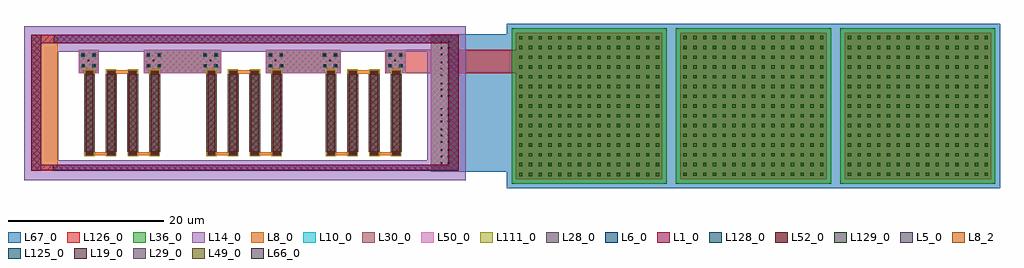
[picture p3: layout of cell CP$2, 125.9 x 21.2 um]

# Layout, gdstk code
from math import pi, radians
import gdstk
lib = gdstk.Library(unit=1e-6, precision=1e-09)
def R(c, l, rs):  # rectangles x0, y0, x1, y1
    for r in rs: c.add(gdstk.rectangle(r[:2], r[2:], *l))
def A(c, l, x, y, w, h, nx, ny, dx, dy):  # array of equal rectangles
    R(c, l, [(x+i*dx, y+j*dy, x+i*dx+w, y+j*dy+h) for i in range(nx) for j in range(ny)])
L1_0 = (1, 0)
L5_0 = (5, 0)
L6_0 = (6, 0)
L8_0 = (8, 0)
L8_2 = (8, 2)
L10_0 = (10, 0)
L14_0 = (14, 0)
L19_0 = (19, 0)
L28_0 = (28, 0)
L29_0 = (29, 0)
L30_0 = (30, 0)
L36_0 = (36, 0)
L49_0 = (49, 0)
L50_0 = (50, 0)
L52_0 = (52, 0)
L66_0 = (66, 0)
L67_0 = (67, 0)
L111_0 = (111, 0)
L125_0 = (125, 0)
L126_0 = (126, 0)
L128_0 = (128, 0)
L129_0 = (129, 0)

cmim = lib.new_cell('cmim')
R(cmim, L36_0, [(0,0,20,20)])
R(cmim, L67_0, [(-0.6,-0.6,20.6,20.6)])
R(cmim, L126_0, [(0.55,0.55,19.45,19.45)])
A(cmim, L129_0, 0.97, 0.97, 0.42, 0.42, 15, 15, 1.26, 1.26)

rppd = lib.new_cell('rppd')
R(rppd, L5_0, [(0,-0.43,1,-0.2), (0,-0.2,1,0), (0,10,1,10.2), (0,10.2,1,10.43)])
R(rppd, L6_0, [(0.07,-0.36,0.93,-0.2), (0.07,10.2,0.93,10.36)])
R(rppd, L8_0, [(0.02,-0.43,0.98,-0.13), (0.02,10.13,0.98,10.43)])
R(rppd, L8_2, [(0.02,-0.43,0.98,-0.13), (0.02,10.13,0.98,10.43)])
R(rppd, L14_0, [(-0.18,-0.61,1.18,0), (-0.18,0,1.18,10), (-0.18,10,1.18,10.61)])
R(rppd, L28_0, [(-0.2,0,1.2,10)])
R(rppd, L52_0, [(0,0,1,10)])
R(rppd, L111_0, [(-0.18,-0.61,1.18,0), (-0.2,0,1.2,10), (-0.18,10,1.18,10.61)])
R(rppd, L128_0, [(0,0,1,10)])
rppd.add(gdstk.Label('rppd r=2654.493', (0.5,5), layer=63, texttype=0))
rppd.add(gdstk.Label('rppd', (0.5,5), layer=52, texttype=0))

res_3 = lib.new_cell('RES$3')
R(res_3, L8_0, [(3.665,4.795,6.73,7.42), (16.915,5.565,17.315,9.323), (6.355,8.382,6.755,12.14), (16.915,11.17,17.315,14.928), (3.663,13.223,6.728,15.848)])
R(res_3, L10_0, [(3.665,4.795,6.73,7.42), (3.663,13.223,6.728,15.848)])
R(res_3, L19_0, [(5.647,5.292,5.837,5.482), (4.272,5.352,4.462,5.542), (4.957,6.074,5.147,6.264), (5.647,6.727,5.837,6.917), (4.272,6.757,4.462,6.947), (5.645,13.72,5.835,13.91), (4.27,13.78,4.46,13.97), (4.955,14.502,5.145,14.692), (5.645,15.155,5.835,15.345), (4.27,15.185,4.46,15.375)])
R(res_3, L29_0, [(5.647,5.292,5.837,5.482), (4.272,5.352,4.462,5.542), (4.957,6.072,5.147,6.262), (5.647,6.727,5.837,6.917), (4.272,6.757,4.462,6.947), (5.645,13.72,5.835,13.91), (4.27,13.78,4.46,13.97), (4.955,14.5,5.145,14.69), (5.645,15.155,5.835,15.345), (4.27,15.185,4.46,15.375)])
R(res_3, L30_0, [(3.665,4.795,6.73,7.42), (3.663,13.223,6.728,15.848)])
R(res_3, L49_0, [(5.647,5.292,5.837,5.482), (4.272,5.352,4.462,5.542), (4.957,6.072,5.147,6.262), (5.647,6.727,5.837,6.917), (4.272,6.757,4.462,6.947), (5.645,13.72,5.835,13.91), (4.27,13.78,4.46,13.97), (4.955,14.5,5.145,14.69), (5.645,15.155,5.835,15.345), (4.27,15.185,4.46,15.375)])
R(res_3, L50_0, [(3.665,4.795,6.73,7.42), (3.663,13.223,6.728,15.848)])
R(res_3, L66_0, [(5.647,5.292,5.837,5.482), (4.272,5.352,4.462,5.542), (4.957,6.072,5.147,6.262), (5.647,6.727,5.837,6.917), (4.272,6.757,4.462,6.947), (5.645,13.72,5.835,13.91), (4.27,13.78,4.46,13.97), (4.955,14.5,5.145,14.69), (5.645,15.155,5.835,15.345), (4.27,15.185,4.46,15.375)])
R(res_3, L67_0, [(3.665,4.795,6.73,7.42), (3.663,13.223,6.728,15.848)])
R(res_3, L125_0, [(5.53,5.225,5.95,5.645), (4.155,5.24,4.575,5.66), (5.53,6.615,5.95,7.035), (4.155,6.645,4.575,7.065), (5.53,13.65,5.95,14.07), (4.155,13.665,4.575,14.085), (5.53,15.04,5.95,15.46), (4.155,15.07,4.575,15.49)])
R(res_3, L126_0, [(3.663,4.798,6.728,7.423), (3.663,13.223,6.728,15.848)])
res_3.add(gdstk.Reference(rppd, (6.835,14.948), rotation=3*pi/2))
res_3.add(gdstk.Reference(rppd, (6.835,12.15), rotation=3*pi/2))
res_3.add(gdstk.Reference(rppd, (6.835,9.36), rotation=3*pi/2))
res_3.add(gdstk.Reference(rppd, (6.835,6.545), rotation=3*pi/2))

res_2_1 = lib.new_cell('RES$2$1')
R(res_2_1, L8_0, [(3.665,4.795,6.73,7.42), (16.915,5.565,17.315,9.323), (6.355,8.382,6.755,12.14), (16.915,11.17,17.315,14.928), (3.663,13.223,6.728,15.848)])
R(res_2_1, L10_0, [(3.665,4.795,6.73,7.42), (3.663,13.223,6.728,15.848)])
R(res_2_1, L19_0, [(5.647,5.292,5.837,5.482), (4.272,5.352,4.462,5.542), (4.957,6.074,5.147,6.264), (5.647,6.727,5.837,6.917), (4.272,6.757,4.462,6.947), (5.645,13.72,5.835,13.91), (4.27,13.78,4.46,13.97), (4.955,14.502,5.145,14.692), (5.645,15.155,5.835,15.345), (4.27,15.185,4.46,15.375)])
R(res_2_1, L29_0, [(5.647,5.292,5.837,5.482), (4.272,5.352,4.462,5.542), (4.957,6.072,5.147,6.262), (5.647,6.727,5.837,6.917), (4.272,6.757,4.462,6.947), (5.645,13.72,5.835,13.91), (4.27,13.78,4.46,13.97), (4.955,14.5,5.145,14.69), (5.645,15.155,5.835,15.345), (4.27,15.185,4.46,15.375)])
R(res_2_1, L30_0, [(3.665,4.795,6.73,7.42), (3.663,13.223,6.728,15.848)])
R(res_2_1, L49_0, [(5.647,5.292,5.837,5.482), (4.272,5.352,4.462,5.542), (4.957,6.072,5.147,6.262), (5.647,6.727,5.837,6.917), (4.272,6.757,4.462,6.947), (5.645,13.72,5.835,13.91), (4.27,13.78,4.46,13.97), (4.955,14.5,5.145,14.69), (5.645,15.155,5.835,15.345), (4.27,15.185,4.46,15.375)])
R(res_2_1, L50_0, [(3.665,4.795,6.73,7.42), (3.663,13.223,6.728,15.848)])
R(res_2_1, L66_0, [(5.647,5.292,5.837,5.482), (4.272,5.352,4.462,5.542), (4.957,6.072,5.147,6.262), (5.647,6.727,5.837,6.917), (4.272,6.757,4.462,6.947), (5.645,13.72,5.835,13.91), (4.27,13.78,4.46,13.97), (4.955,14.5,5.145,14.69), (5.645,15.155,5.835,15.345), (4.27,15.185,4.46,15.375)])
R(res_2_1, L67_0, [(3.665,4.795,6.73,7.42), (3.663,13.223,6.728,15.848)])
R(res_2_1, L125_0, [(5.53,5.225,5.95,5.645), (4.155,5.24,4.575,5.66), (5.53,6.615,5.95,7.035), (4.155,6.645,4.575,7.065), (5.53,13.65,5.95,14.07), (4.155,13.665,4.575,14.085), (5.53,15.04,5.95,15.46), (4.155,15.07,4.575,15.49)])
R(res_2_1, L126_0, [(3.663,4.798,6.728,7.423), (3.663,13.223,6.728,15.848)])
res_2_1.add(gdstk.Reference(rppd, (6.835,14.948), rotation=3*pi/2))
res_2_1.add(gdstk.Reference(rppd, (6.835,12.15), rotation=3*pi/2))
res_2_1.add(gdstk.Reference(rppd, (6.835,9.36), rotation=3*pi/2))
res_2_1.add(gdstk.Reference(rppd, (6.835,6.545), rotation=3*pi/2))

cp_2 = lib.new_cell('CP$2')
R(cp_2, L1_0, [(6.325,35.042,7.61,52.597), (7.58,35.117,61.43,35.797), (60.105,35.117,61.43,52.597), (7.365,51.502,61.43,52.597)])
R(cp_2, L6_0, [(6.325,35.042,7.61,52.597), (9.085,35.042,61.43,35.797), (60.105,35.042,61.43,52.597), (9.2,51.492,61.43,52.597)])
R(cp_2, L8_0, [(6.325,35.042,9.745,52.597), (57.875,35.042,61.43,52.597), (21.15,47.604,30.762,50.667), (36.573,47.604,46.185,50.667), (36.598,47.604,46.21,50.667)])
R(cp_2, L10_0, [(57.875,35.042,61.43,44.027), (57.875,43.667,61.43,52.652), (21.15,47.604,30.762,50.667), (36.573,47.604,46.185,50.667), (36.598,47.604,46.21,50.667)])
R(cp_2, L14_0, [(5.38,33.827,62.375,36.402), (57.38,33.827,62.375,53.697), (5.38,34.397,9.77,53.657), (9.165,50.402,62.375,53.657)])
A(cp_2, L19_0, 59.16, 35.967, 0.19, 0.19, 1, 3, 0, 2.67)
A(cp_2, L19_0, 60.072, 35.967, 0.19, 0.19, 1, 3, 0, 2.67)
A(cp_2, L19_0, 59.16, 44.592, 0.19, 0.19, 1, 3, 0, 2.67)
A(cp_2, L19_0, 60.072, 44.592, 0.19, 0.19, 1, 3, 0, 2.67)
R(cp_2, L19_0, [(59.162,36.807,59.352,36.997), (60.074,36.807,60.264,36.997), (59.162,37.602,59.352,37.792), (60.074,37.602,60.264,37.792), (59.162,39.477,59.352,39.667), (60.074,39.477,60.264,39.667), (59.162,40.272,59.352,40.462), (60.074,40.272,60.264,40.462), (59.162,42.147,59.352,42.337), (60.074,42.147,60.264,42.337), (59.162,42.942,59.352,43.132), (60.074,42.942,60.264,43.132), (59.162,45.432,59.352,45.622), (60.074,45.432,60.264,45.622), (59.162,46.227,59.352,46.417), (60.074,46.227,60.264,46.417), (59.162,48.102,59.352,48.292), (60.074,48.102,60.264,48.292), (59.162,48.897,59.352,49.087), (60.074,48.897,60.264,49.087), (59.162,50.772,59.352,50.962), (60.074,50.772,60.264,50.962), (59.162,51.567,59.352,51.757), (60.074,51.567,60.264,51.757)])
A(cp_2, L29_0, 59.16, 35.967, 0.19, 0.19, 1, 3, 0, 2.67)
A(cp_2, L29_0, 60.072, 35.967, 0.19, 0.19, 1, 3, 0, 2.67)
A(cp_2, L29_0, 59.16, 44.592, 0.19, 0.19, 1, 3, 0, 2.67)
A(cp_2, L29_0, 60.072, 44.592, 0.19, 0.19, 1, 3, 0, 2.67)
R(cp_2, L29_0, [(59.162,36.807,59.352,36.997), (60.074,36.807,60.264,36.997), (59.162,37.602,59.352,37.792), (60.074,37.602,60.264,37.792), (59.162,39.477,59.352,39.667), (60.074,39.477,60.264,39.667), (59.162,40.272,59.352,40.462), (60.074,40.272,60.264,40.462), (59.162,42.147,59.352,42.337), (60.074,42.147,60.264,42.337), (59.162,42.942,59.352,43.132), (60.074,42.942,60.264,43.132), (59.162,45.432,59.352,45.622), (60.074,45.432,60.264,45.622), (59.162,46.227,59.352,46.417), (60.074,46.227,60.264,46.417), (59.162,48.102,59.352,48.292), (60.074,48.102,60.264,48.292), (59.162,48.897,59.352,49.087), (60.074,48.897,60.264,49.087), (59.162,50.772,59.352,50.962), (60.074,50.772,60.264,50.962), (59.162,51.567,59.352,51.757), (60.074,51.567,60.264,51.757)])
R(cp_2, L30_0, [(57.875,35.042,61.43,44.027), (57.875,43.667,61.43,52.652), (21.15,47.604,30.762,50.667), (36.573,47.604,46.185,50.667), (36.598,47.604,46.21,50.667)])
A(cp_2, L49_0, 59.16, 35.967, 0.19, 0.19, 1, 3, 0, 2.67)
A(cp_2, L49_0, 60.072, 35.967, 0.19, 0.19, 1, 3, 0, 2.67)
A(cp_2, L49_0, 59.16, 44.592, 0.19, 0.19, 1, 3, 0, 2.67)
A(cp_2, L49_0, 60.072, 44.592, 0.19, 0.19, 1, 3, 0, 2.67)
R(cp_2, L49_0, [(59.162,36.807,59.352,36.997), (60.074,36.807,60.264,36.997), (59.162,37.602,59.352,37.792), (60.074,37.602,60.264,37.792), (59.162,39.477,59.352,39.667), (60.074,39.477,60.264,39.667), (59.162,40.272,59.352,40.462), (60.074,40.272,60.264,40.462), (59.162,42.147,59.352,42.337), (60.074,42.147,60.264,42.337), (59.162,42.942,59.352,43.132), (60.074,42.942,60.264,43.132), (59.162,45.432,59.352,45.622), (60.074,45.432,60.264,45.622), (59.162,46.227,59.352,46.417), (60.074,46.227,60.264,46.417), (59.162,48.102,59.352,48.292), (60.074,48.102,60.264,48.292), (59.162,48.897,59.352,49.087), (60.074,48.897,60.264,49.087), (59.162,50.772,59.352,50.962), (60.074,50.772,60.264,50.962), (59.162,51.567,59.352,51.757), (60.074,51.567,60.264,51.757)])
R(cp_2, L50_0, [(57.875,35.042,61.43,52.652), (21.15,47.604,30.762,50.667), (36.573,47.604,46.185,50.667), (36.598,47.604,46.21,50.667)])
A(cp_2, L66_0, 59.16, 35.967, 0.19, 0.19, 1, 3, 0, 2.67)
A(cp_2, L66_0, 60.072, 35.967, 0.19, 0.19, 1, 3, 0, 2.67)
A(cp_2, L66_0, 59.16, 44.592, 0.19, 0.19, 1, 3, 0, 2.67)
A(cp_2, L66_0, 60.072, 44.592, 0.19, 0.19, 1, 3, 0, 2.67)
R(cp_2, L66_0, [(59.162,36.807,59.352,36.997), (60.074,36.807,60.264,36.997), (59.162,37.602,59.352,37.792), (60.074,37.602,60.264,37.792), (59.162,39.477,59.352,39.667), (60.074,39.477,60.264,39.667), (59.162,40.272,59.352,40.462), (60.074,40.272,60.264,40.462), (59.162,42.147,59.352,42.337), (60.074,42.147,60.264,42.337), (59.162,42.942,59.352,43.132), (60.074,42.942,60.264,43.132), (59.162,45.432,59.352,45.622), (60.074,45.432,60.264,45.622), (59.162,46.227,59.352,46.417), (60.074,46.227,60.264,46.417), (59.162,48.102,59.352,48.292), (60.074,48.102,60.264,48.292), (59.162,48.897,59.352,49.087), (60.074,48.897,60.264,49.087), (59.162,50.772,59.352,50.962), (60.074,50.772,60.264,50.962), (59.162,51.567,59.352,51.757), (60.074,51.567,60.264,51.757)])
R(cp_2, L67_0, [(57.875,34.917,67.682,52.652), (21.15,47.604,30.762,50.667), (36.573,47.604,46.185,50.667), (36.598,47.604,46.21,50.667)])
R(cp_2, L126_0, [(21.147,47.604,30.762,50.669), (36.57,47.604,46.185,50.669), (36.595,47.604,46.21,50.669), (52.01,47.604,74.185,50.669)])
cp_2.add(gdstk.Reference(cmim, (68.282,33.39)))
cp_2.add(gdstk.Reference(res_3, (44.018,54.332), rotation=3*pi/2, x_reflection=True))
cp_2.add(gdstk.Reference(res_3, (59.433,54.332), rotation=3*pi/2, x_reflection=True))
cp_2.add(gdstk.Reference(res_2_1, (28.275,54.332), rotation=3*pi/2, x_reflection=True))
cp_2.add(gdstk.Reference(cmim, (89.48,33.392)))
cp_2.add(gdstk.Reference(cmim, (110.68,33.392)))

lib.write_gds('CP_2.gds')
